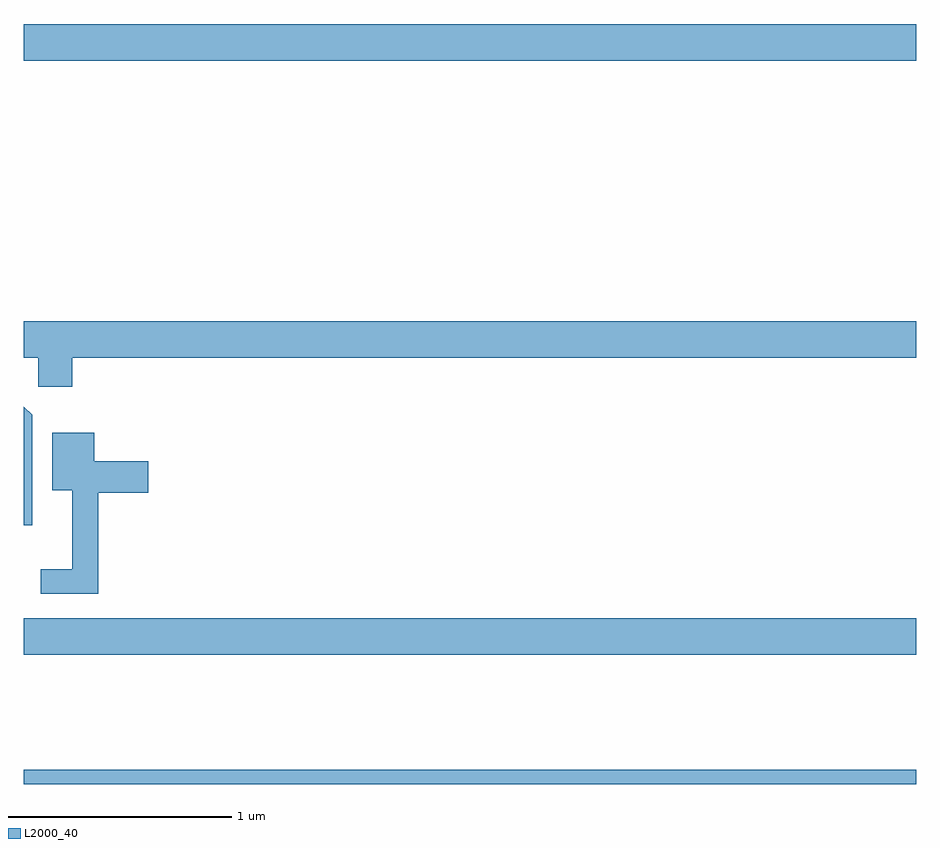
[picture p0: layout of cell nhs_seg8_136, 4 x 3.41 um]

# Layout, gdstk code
import gdstk
lib = gdstk.Library(unit=1e-6, precision=1e-09)
def R(c, l, rs):  # rectangles x0, y0, x1, y1
    for r in rs: c.add(gdstk.rectangle(r[:2], r[2:], *l))
def P(c, l, *ps):  # polygons
    for p in ps: c.add(gdstk.Polygon(p, *l))
L2000_40 = (2000, 40)

nhs_seg8_136 = lib.new_cell('nhs_seg8_136')
R(nhs_seg8_136, L2000_40, [(119,1135.9,123,1135.964), (119,1136.48,123,1136.644), (119,1139.144,123,1139.308)])
P(nhs_seg8_136, L2000_40, [(119.216,1137.812),(123,1137.812),(123,1137.976),(119,1137.976),(119,1137.812),(119.064,1137.812),(119.064,1137.681),(119.216,1137.681)],
  [(119.037,1137.555),(119,1137.592),(119,1137.06),(119.037,1137.06)],
  [(119.333,1137.206),(119.557,1137.206),(119.557,1137.348),(119.314,1137.348),(119.314,1137.475),(119.126,1137.475),(119.126,1137.218),(119.216,1137.218),(119.216,1136.863),(119.076,1136.863),(119.076,1136.754),(119.333,1136.754)])

lib.write_gds('nhs_seg8_136.gds')
